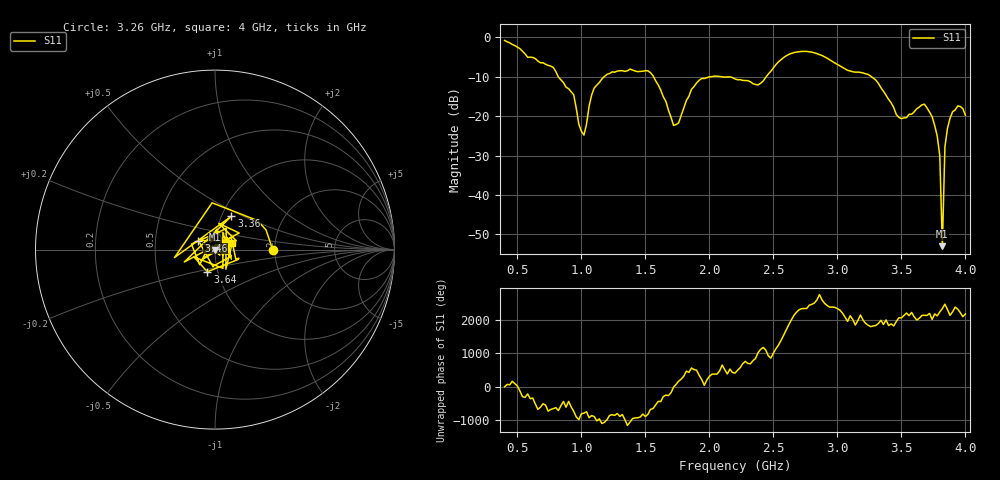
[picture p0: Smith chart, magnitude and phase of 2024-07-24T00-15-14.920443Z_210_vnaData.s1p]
!Created with skrf (http://scikit-rf.org).
# Hz S RI R 50.0
!freq ReS11 ImS11
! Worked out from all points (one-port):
!   181 points, 400 MHz to 4 GHz, reference 50 ohm
!   lowest |S11| = -53.0 dB at 3.82 GHz (marker M1), VSWR 1.00, Z = 49.8 - j0.0207 ohm
!   |S11| at or under -10 dB: 819 MHz to 1.178 GHz (359 MHz wide, 36 % of centre); 1.564 GHz to 2.004 GHz (440.5 MHz wide, 24.7 % of centre); 3.267 GHz to end of sweep (the widest 3 of 4)
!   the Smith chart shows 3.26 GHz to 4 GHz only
!   S11 on the Smith chart (normalised r, x): 3.26 GHz: 1.95, -0.01; 3.36 GHz: 1.11, +0.43; 3.46 GHz: 0.83, +0.08; 3.64 GHz: 0.89, -0.22; 4 GHz: 1.21, +0.09
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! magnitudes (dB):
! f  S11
! 400 MHz  -0.8
! 860 MHz  -11.5
! 940 MHz  -14.6
! 980 MHz  -22.1
! 1.02 GHz  -24.8
! 1.1 GHz  -12.8
! 1.3 GHz  -8.5
! 1.54 GHz  -9.0
! 1.72 GHz  -22.4
! 1.76 GHz  -21.7
! 1.92 GHz  -10.9
! 2.2 GHz  -10.6
! 2.38 GHz  -12.1
! 2.66 GHz  -3.9
! 3.1 GHz  -8.5
! 3.26 GHz  -9.8
! 3.36 GHz  -13.7
! 3.46 GHz  -19.6
! 3.56 GHz  -19.5
! 3.64 GHz  -17.7
! 3.7 GHz  -17.9
! 3.78 GHz  -25.1
! 3.8 GHz  -30.0
! 3.82 GHz  -53.0
! 3.84 GHz  -27.8
! 3.86 GHz  -23.1
! 3.94 GHz  -17.4
! 4 GHz  -19.8
